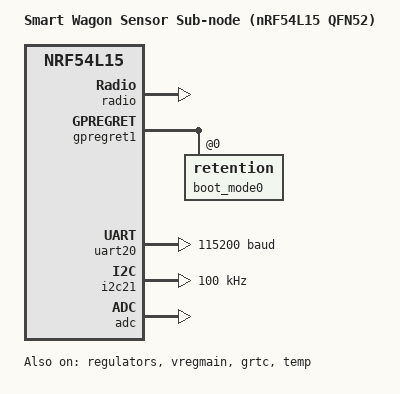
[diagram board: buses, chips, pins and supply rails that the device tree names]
/*
 * Smart Wagon sensor sub-node - nRF54L15 (QFN52) custom board.
 *
 * One board definition for all 19 nodes: they share the same core hardware -
 * BMA400 + STS4x on a switched rail, a TPL5010 external watchdog, a debug UART
 * and the battery gauge on the SAADC internal-supply input. Per-node
 * differences (door reeds on P1.11, the RTD on AIN3) stay in each
 * application's app.overlay.
 *
 * Why this exists rather than building against the nRF54L15 DK target: the DK
 * board files describe the DK, and two of its nodes land on pins this board
 * uses for something else.
 *
 *   - button3 is P0.04 with a pull-up. On this board P0.04 is BMA_INT, the
 *     accelerometer interrupt - the tamper/impact wake line that RDSO s7.3
 *     depends on.
 *   - button0/1/2 claim P1.13, P1.09 and P1.08, and mcuboot-button0 aliases
 *     button0, so enabling serial recovery would make MCUboot sample a pin
 *     this board does not use as a button.
 *   - spi00 is enabled with an mx25r6435f that is not fitted here at all.
 *
 * None of that bites while CONFIG_INPUT and CONFIG_LED are off, which is why
 * the DK target appeared to work. It is a latent fault, not a safe default.
 *
 * SPDX-License-Identifier: Apache-2.0
 */

/dts-v1/;

#include <nordic/nrf54l15_cpuapp.dtsi>
#include <zephyr/dt-bindings/gpio/gpio.h>
#include <zephyr/dt-bindings/regulator/nrf5x.h>
#include "sw_node-pinctrl.dtsi"

/ {
	compatible = "macnman,sw-node-nrf54l15-cpuapp";
	model = "Smart Wagon Sensor Sub-node (nRF54L15 QFN52)";

	chosen {
		zephyr,console = &uart20;
		zephyr,shell-uart = &uart20;
		zephyr,flash-controller = &rram_controller;
		zephyr,flash = &cpuapp_rram;
		zephyr,code-partition = &slot0_partition;
		zephyr,sram = &cpuapp_sram;
	};
};

/*
 * Release P1.02/P1.03 from NFC so uart20 can drive the debug header. On
 * nRF54L15 this is a UICR property, not the nRF52/nRF53 Kconfig.
 */
&uicr {
	nfct-pins-as-gpios;
};

&nfct {
	status = "disabled";
};

&cpuapp_sram {
	status = "okay";
};

/*
 * Crystal loading. Every sub-node board carries both crystals, and - as on the
 * gateway - there are no external load capacitors, so the SoC's internal ones
 * carry the whole load.
 *
 * TODO(hardware): load-capacitance-femtofarad must match the CL of the fitted
 * crystals. The values below are the nRF54L15 DK's and are PLACEHOLDERS. This
 * matters more here than on the gateway: the node's entire duty cycle is timed
 * off the 32.768 kHz LFXO, so a loading error scales the advertising cadence,
 * the config-window period and every batt_account_*() charge estimate with it.
 */
&lfxo {
	load-capacitors = "internal";
	load-capacitance-femtofarad = <17000>;
};

&hfxo {
	load-capacitors = "internal";
	load-capacitance-femtofarad = <15000>;
};

/*
 * Main regulator: LDO mode, deliberately.
 *
 * DCDC would cut radio-burst current appreciably - worth real money against a
 * 247 uA lifetime budget - but it REQUIRES an inductor between DCC and DECD.
 * The gateway schematic shows one (L1, 4.7 uH); no sub-node schematic has been
 * supplied, so it cannot be assumed. Enabling DCDC without that inductor
 * browns the part out.
 *
 * TODO(hardware): if the sub-node boards fit the DCC inductor, add
 *   regulator-initial-mode = <NRF5X_REG_MODE_DCDC>;
 * to &vregmain below and re-measure with the PPK2. Until then LDO is the only
 * safe choice, and the battery model should assume it.
 */
&regulators {
	status = "okay";
};

&vregmain {
	status = "okay";
};

&grtc {
	owned-channels = <0 1 2 3 4 5 6 7 8 9 10 11>;
	child-owned-channels = <3 4 7 8 9 10 11>;
	status = "okay";
};

&gpio0 { status = "okay"; };
&gpio1 { status = "okay"; };
&gpio2 { status = "okay"; };
&gpiote20 { status = "okay"; };
&gpiote30 { status = "okay"; };
&radio { status = "okay"; };
&clock { status = "okay"; };
&temp { status = "okay"; };

&gpregret1 {
	status = "okay";

	boot_mode0: boot_mode@0 {
		compatible = "zephyr,retention";
		status = "okay";
		reg = <0x0 0x1>;
	};
};

/* Debug console. */
&uart20 {
	status = "okay";
	current-speed = <115200>;
	pinctrl-0 = <&uart20_default>;
	pinctrl-1 = <&uart20_sleep>;
	pinctrl-names = "default", "sleep";
};

/* BMA400 + STS4x, on the rail gated by SW_AXI (P1.06). */
&i2c21 {
	status = "okay";
	clock-frequency = <I2C_BITRATE_STANDARD>;
	pinctrl-0 = <&i2c21_default>;
	pinctrl-1 = <&i2c21_sleep>;
	pinctrl-names = "default", "sleep";
};

/*
 * SAADC. Channels are declared per application, because they differ: every
 * node uses the internal-supply input for the battery gauge, and the tank
 * nodes add AIN3 (P1.07) for the RTD bridge.
 */
&adc {
	status = "okay";
	#address-cells = <1>;
	#size-cells = <0>;
};

/*
 * No external memory bus on a sub-node: no NOR, no FRAM, and spi00 stays
 * disabled. Thresholds, the nonce ceiling and the coulomb-gauge accumulator
 * all live in internal NVS via the settings subsystem.
 */

#include <vendor/nordic/nrf54l15_cpuapp_partition.dtsi>
